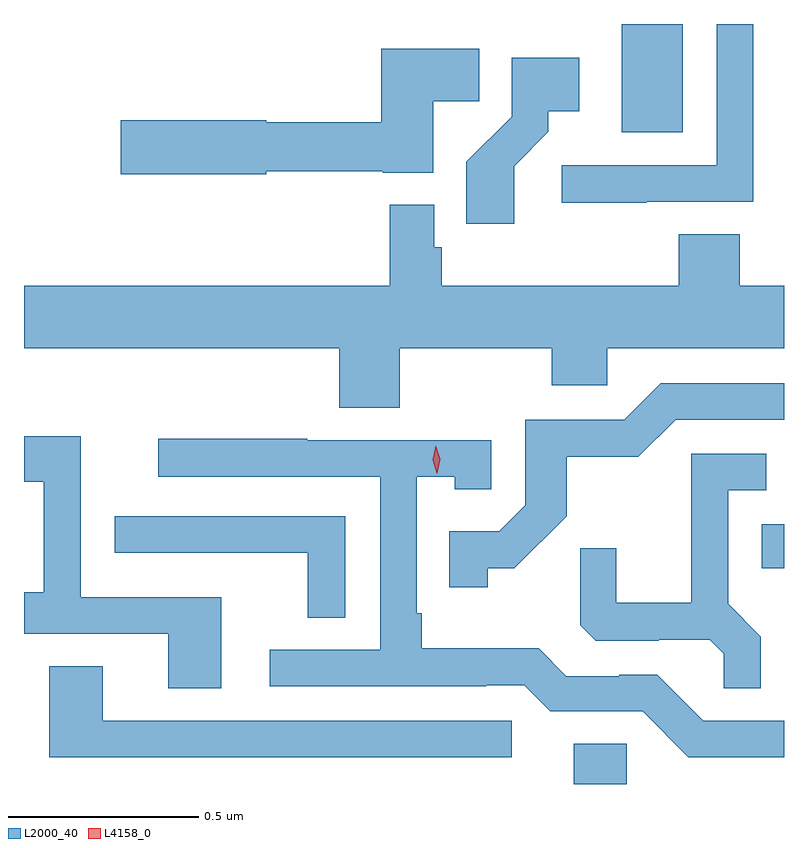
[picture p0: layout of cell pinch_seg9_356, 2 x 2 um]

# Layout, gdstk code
import gdstk
lib = gdstk.Library(unit=1e-6, precision=1e-09)
def R(c, l, rs):  # rectangles x0, y0, x1, y1
    for r in rs: c.add(gdstk.rectangle(r[:2], r[2:], *l))
def P(c, l, *ps):  # polygons
    for p in ps: c.add(gdstk.Polygon(p, *l))
L2000_40 = (2000, 40)
L4158_0 = (4158, 0)

pinch_seg9_356 = lib.new_cell('pinch_seg9_356')
R(pinch_seg9_356, L2000_40, [(542.153,1196.605,542.292,1196.711), (542.648,1197.173,542.706,1197.289), (542.279,1198.32,542.44,1198.605)])
P(pinch_seg9_356, L2000_40, [(542.345,1198.137),(542.625,1198.137),(542.625,1198.605),(542.529,1198.605),(542.529,1198.233),(542.121,1198.233),(542.121,1198.135),(542.345,1198.135)],
  [(541.344,1198.218),(541.65,1198.218),(541.65,1198.214),(541.783,1198.214),(541.783,1198.402),(541.904,1198.402),(541.904,1198.54),(541.646,1198.54),(541.646,1198.346),(541.344,1198.346),(541.344,1198.352),(540.96,1198.352),(540.96,1198.21),(541.344,1198.21)],
  [(541.996,1198.231),(542.086,1198.321),(542.086,1198.376),(542.167,1198.376),(542.167,1198.516),(541.989,1198.516),(541.989,1198.361),(541.87,1198.242),(541.87,1198.08),(541.996,1198.08)],
  [(541.695,1197.752),(542.095,1197.752),(542.095,1197.654),(542.241,1197.654),(542.241,1197.752),(542.706,1197.752),(542.706,1197.916),(542.589,1197.916),(542.589,1198.052),(542.429,1198.052),(542.429,1197.916),(541.805,1197.916),(541.805,1198.017),(541.785,1198.017),(541.785,1198.129),(541.669,1198.129),(541.669,1197.916),(540.706,1197.916),(540.706,1197.752),(541.535,1197.752),(541.535,1197.595),(541.695,1197.595)],
  [(541.926,1197.173),(541.996,1197.173),(542.134,1197.31),(542.134,1197.466),(542.323,1197.466),(542.421,1197.564),(542.706,1197.564),(542.706,1197.66),(542.382,1197.66),(542.286,1197.564),(542.025,1197.564),(542.025,1197.339),(541.956,1197.27),(541.825,1197.27),(541.825,1197.123),(541.926,1197.123)],
  [(541.225,1197.096),(540.855,1197.096),(540.855,1197.52),(540.706,1197.52),(540.706,1197.4),(540.758,1197.4),(540.758,1197.109),(540.706,1197.109),(540.706,1197),(541.085,1197),(541.085,1196.857),(541.225,1196.857)],
  [(542.706,1196.772),(542.493,1196.772),(542.373,1196.892),(542.272,1196.892),(542.272,1196.889),(542.133,1196.889),(542.06,1196.962),(541.753,1196.962),(541.753,1197.055),(541.74,1197.055),(541.74,1197.413),(541.839,1197.413),(541.839,1197.381),(541.935,1197.381),(541.935,1197.51),(541.451,1197.51),(541.451,1197.513),(541.059,1197.513),(541.059,1197.414),(541.644,1197.414),(541.644,1196.958),(541.353,1196.958),(541.353,1196.862),(541.922,1196.862),(541.922,1196.865),(542.022,1196.865),(542.091,1196.796),(542.334,1196.796),(542.454,1196.676),(542.706,1196.676)],
  [(542.645,1196.993),(542.559,1197.079),(542.559,1197.378),(542.659,1197.378),(542.659,1197.474),(542.462,1197.474),(542.462,1197.082),(542.264,1197.082),(542.264,1197.225),(542.17,1197.225),(542.17,1197.023),(542.211,1196.982),(542.376,1196.982),(542.376,1196.985),(542.51,1196.985),(542.547,1196.948),(542.547,1196.857),(542.645,1196.857)],
  [(541.551,1197.309),(540.945,1197.309),(540.945,1197.214),(541.057,1197.214),(541.057,1197.213),(541.453,1197.213),(541.453,1197.043),(541.551,1197.043)],
  [(541.99,1196.772),(540.913,1196.772),(540.913,1196.915),(540.773,1196.915),(540.773,1196.676),(541.99,1196.676)])
P(pinch_seg9_356, L4158_0, [(541.792,1197.423),(541.781,1197.458),(541.79,1197.495),(541.79,1197.495),(541.79,1197.495),(541.801,1197.459),(541.793,1197.423),(541.793,1197.423)])

lib.write_gds('pinch_seg9_356.gds')
